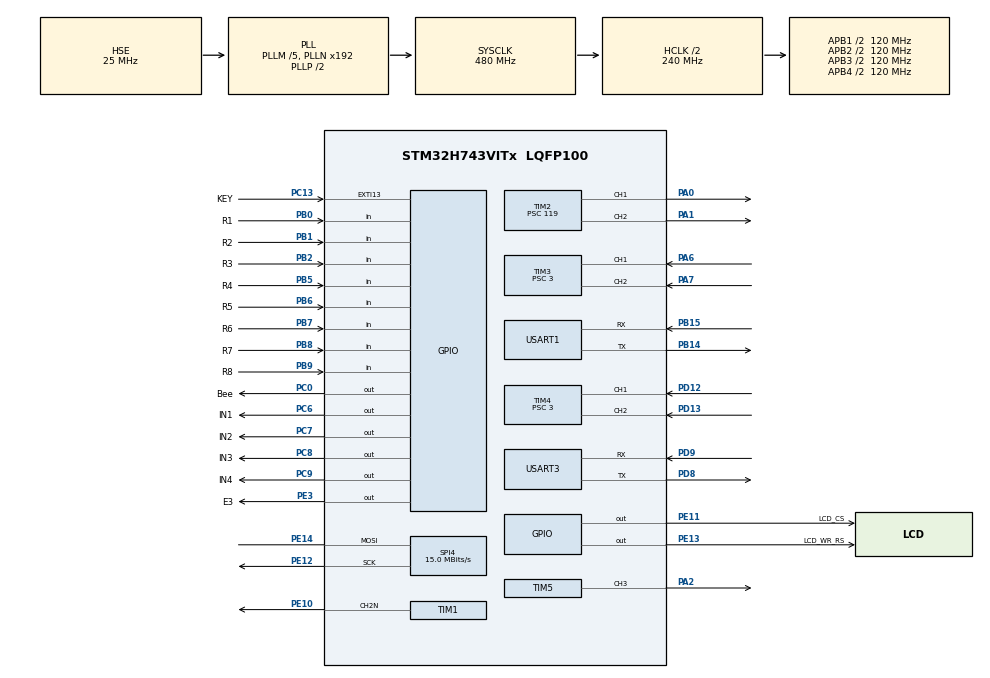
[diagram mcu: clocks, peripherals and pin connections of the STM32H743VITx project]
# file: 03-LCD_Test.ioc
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Mcu.Family=STM32H7
Mcu.Name=STM32H743VITx
Mcu.Package=LQFP100
NVIC.EXTI15_10_IRQn=true\:1\:0\:true\:false\:true\:true\:true
NVIC.PriorityGroup=NVIC_PRIORITYGROUP_4
NVIC.TIM6_DAC_IRQn=true\:2\:0\:true\:false\:true\:true\:true
NVIC.TIM7_IRQn=true\:3\:0\:true\:false\:true\:true\:true
NVIC.USART3_IRQn=true\:0\:0\:false\:false\:true\:true\:true
PA0.Signal=S_TIM2_CH1
PA1.Signal=S_TIM2_CH2
PA13\ (JTMS/SWDIO).Mode=Serial_Wire
PA13\ (JTMS/SWDIO).Signal=DEBUG_JTMS-SWDIO
PA14\ (JTCK/SWCLK).Mode=Serial_Wire
PA14\ (JTCK/SWCLK).Signal=DEBUG_JTCK-SWCLK
PA2.Signal=S_TIM5_CH3
PA6.Signal=S_TIM3_CH1
PA7.Signal=S_TIM3_CH2
PB0.GPIO_Label=R1
PB0.Signal=GPIO_Input
PB1.GPIO_Label=R2
PB1.Signal=GPIO_Input
PB14.Mode=Asynchronous
PB14.Signal=USART1_TX
PB15.Mode=Asynchronous
PB15.Signal=USART1_RX
PB2.GPIO_Label=R3
PB2.Signal=GPIO_Input
PB5.GPIO_Label=R4
PB5.Signal=GPIO_Input
PB6.GPIO_Label=R5
PB6.Signal=GPIO_Input
PB7.GPIO_Label=R6
PB7.Signal=GPIO_Input
PB8.GPIO_Label=R7
PB8.Signal=GPIO_Input
PB9.GPIO_Label=R8
PB9.Signal=GPIO_Input
PC0.GPIO_Label=Bee
PC0.PinState=GPIO_PIN_SET
PC0.Signal=GPIO_Output
PC13.GPIO_Label=KEY
PC13.GPIO_ModeDefaultEXTI=GPIO_MODE_IT_FALLING
PC13.GPIO_PuPd=GPIO_NOPULL
PC13.Signal=GPXTI13
PC14-OSC32_IN\ (OSC32_IN).Mode=LSE-External-Oscillator
PC14-OSC32_IN\ (OSC32_IN).Signal=RCC_OSC32_IN
PC15-OSC32_OUT\ (OSC32_OUT).Mode=LSE-External-Oscillator
PC15-OSC32_OUT\ (OSC32_OUT).Signal=RCC_OSC32_OUT
PC6.GPIO_Label=IN1
PC6.Signal=GPIO_Output
PC7.GPIO_Label=IN2
PC7.Signal=GPIO_Output
PC8.GPIO_Label=IN3
PC8.Signal=GPIO_Output
PC9.GPIO_Label=IN4
PC9.Signal=GPIO_Output
PD12.Signal=S_TIM4_CH1
PD13.Signal=S_TIM4_CH2
PD8.Mode=Asynchronous
PD8.Signal=USART3_TX
PD9.Mode=Asynchronous
PD9.Signal=USART3_RX
PE10.Mode=PWM Generation2 CH2N
PE10.Signal=TIM1_CH2N
PE11.GPIO_Label=LCD_CS
PE11.GPIO_Speed=GPIO_SPEED_FREQ_VERY_HIGH
PE11.PinState=GPIO_PIN_SET
PE11.Signal=GPIO_Output
PE12.GPIO_Speed=GPIO_SPEED_FREQ_HIGH
PE12.Mode=Simplex_Bidirectional_Master
PE12.Signal=SPI4_SCK
PE13.GPIO_Label=LCD_WR_RS
PE13.GPIO_Speed=GPIO_SPEED_FREQ_VERY_HIGH
PE13.PinState=GPIO_PIN_SET
PE13.Signal=GPIO_Output
PE14.GPIO_Speed=GPIO_SPEED_FREQ_HIGH
PE14.Mode=Simplex_Bidirectional_Master
PE14.Signal=SPI4_MOSI
PE3.GPIO_Label=E3
PE3.Signal=GPIO_Output
PH0-OSC_IN\ (PH0).Mode=HSE-External-Oscillator
PH0-OSC_IN\ (PH0).Signal=RCC_OSC_IN
PH1-OSC_OUT\ (PH1).Mode=HSE-External-Oscillator
PH1-OSC_OUT\ (PH1).Signal=RCC_OSC_OUT
ProjectManager.HeapSize=0x200
ProjectManager.StackSize=0x400
ProjectManager.TargetToolchain=MDK-ARM V5
RCC.ADCFreq_Value=83333333.33333333
RCC.APB1Freq_Value=120000000
RCC.APB2Freq_Value=120000000
RCC.APB3Freq_Value=120000000
RCC.APB4Freq_Value=120000000
RCC.CortexFreq_Value=480000000
RCC.D1PPRE=RCC_APB3_DIV2
RCC.D2PPRE1=RCC_APB1_DIV2
RCC.D2PPRE2=RCC_APB2_DIV2
RCC.D3PPRE=RCC_APB4_DIV2
RCC.DIVM1=5
RCC.DIVM2=6
RCC.DIVN1=192
RCC.DIVN2=40
RCC.DIVQ2=1
RCC.HCLKFreq_Value=240000000
RCC.HPRE=RCC_HCLK_DIV2
RCC.HSE_VALUE=25000000
RCC.PLLFRACN=0
RCC.PLLSourceVirtual=RCC_PLLSOURCE_HSE
RCC.RTCClockSelection=RCC_RTCCLKSOURCE_LSE
RCC.SYSCLKFreq_VALUE=480000000
RCC.SYSCLKSource=RCC_SYSCLKSOURCE_PLLCLK
RCC.USBFreq_Value=480000000
RTC.Hours=12
RTC.Month=RTC_MONTH_JUNE
RTC.Year=20
SH.S_TIM2_CH1.0=TIM2_CH1,PWM Generation1 CH1
SH.S_TIM2_CH2.0=TIM2_CH2,PWM Generation2 CH2
SH.S_TIM3_CH1.0=TIM3_CH1,Encoder_Interface
SH.S_TIM3_CH2.0=TIM3_CH2,Encoder_Interface
SH.S_TIM4_CH1.0=TIM4_CH1,Encoder_Interface
SH.S_TIM4_CH2.0=TIM4_CH2,Encoder_Interface
SH.S_TIM5_CH3.0=TIM5_CH3,PWM Generation3 CH3
SPI4.BaudRatePrescaler=SPI_BAUDRATEPRESCALER_8
SPI4.CalculateBaudRate=15.0 MBits/s
SPI4.DataSize=SPI_DATASIZE_8BIT
SPI4.Direction=SPI_DIRECTION_1LINE
SPI4.Mode=SPI_MODE_MASTER
SPI4.VirtualType=VM_MASTER
TIM1.Channel-PWM\ Generation2\ CH2N=TIM_CHANNEL_2
TIM1.OCNPolarity_2=TIM_OCNPOLARITY_LOW
TIM1.Period=1000-1
TIM1.Prescaler=12-1
TIM2.AutoReloadPreload=TIM_AUTORELOAD_PRELOAD_ENABLE
TIM2.Channel-PWM\ Generation1\ CH1=TIM_CHANNEL_1
TIM2.Channel-PWM\ Generation2\ CH2=TIM_CHANNEL_2
TIM2.Period=4800
TIM2.Prescaler=119
TIM3.AutoReloadPreload=TIM_AUTORELOAD_PRELOAD_ENABLE
TIM3.EncoderMode=TIM_ENCODERMODE_TI12
TIM3.Period=65534
TIM3.Prescaler=3
TIM4.AutoReloadPreload=TIM_AUTORELOAD_PRELOAD_ENABLE
TIM4.EncoderMode=TIM_ENCODERMODE_TI12
TIM4.Period=65534
TIM4.Prescaler=3
TIM5.AutoReloadPreload=TIM_AUTORELOAD_PRELOAD_ENABLE
TIM5.Channel-PWM\ Generation3\ CH3=TIM_CHANNEL_3
TIM5.Period=249
TIM5.Prescaler=4799
TIM6.AutoReloadPreload=TIM_AUTORELOAD_PRELOAD_ENABLE
TIM6.Period=99
TIM6.Prescaler=4799
TIM7.AutoReloadPreload=TIM_AUTORELOAD_PRELOAD_ENABLE
TIM7.Period=999
TIM7.Prescaler=4799
USART1.VirtualMode-Asynchronous=VM_ASYNC
USART3.VirtualMode-Asynchronous=VM_ASYNC
VP_RTC_VS_RTC_Activate.Mode=RTC_Enabled
VP_RTC_VS_RTC_Calendar.Mode=RTC_Calendar
VP_TIM2_VS_ClockSourceINT.Mode=Internal
VP_TIM5_VS_ClockSourceINT.Mode=Internal
VP_TIM6_VS_ClockSourceINT.Mode=Enable_Timer
VP_TIM7_VS_ClockSourceINT.Mode=Enable_Timer
board=custom

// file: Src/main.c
/* USER CODE BEGIN Header */
/**
  ******************************************************************************
  * @file           : main.c
  * @brief          : Main program body
  ******************************************************************************
  * @attention
  *
  * <h2><center>&copy; Copyright (c) 2020 STMicroelectronics.
  * All rights reserved.</center></h2>
  *
  * This software component is licensed by ST under BSD 3-Clause license,
  * the "License"; You may not use this file except in compliance with the
  * License. You may obtain a copy of the License at:
  *                        opensource.org/licenses/BSD-3-Clause
  *
  ******************************************************************************
  */
/* USER CODE END Header */
#include "main.h"
#include "rtc.h"
#include "spi.h"
#include "tim.h"
#include "usart.h"
#include "gpio.h"

/* USER CODE BEGIN Includes */
#include "lcd.h"
#include "pid.h"
#include "control.h"
#include "stdlib.h"
#include "stdio.h"
#include "string.h"
#include "pid.h"
#include "atk_imu901.h"
/* USER CODE END Includes */

/* USER CODE BEGIN PTD */
extern int Vertical_out,Velocity_out,Turn_out;//直立环&速度环&转向环 的输出变量
extern float Med_Angle;//机械中值--能使得小车真正平衡住的角度。
extern float Vertical_Kp;
float Pitch,Roll,Yaw;						//角度
short gyrox,gyroy,gyroz;				//陀螺仪--角速度
short aacx,aacy,aacz;						//加速度
int Encoder_Left,Encoder_Right;	//编码器数据（速度）

int PWM_MAX=7200,PWM_MIN=-7200;	//PWM限幅变量
int MOTO1,MOTO2;								//电机装载变量
/* USER CODE END PTD */

void SystemClock_Config(void);

/* USER CODE BEGIN 0 */
static void MPU_Config(void)
{
  MPU_Region_InitTypeDef MPU_InitStruct = {0};

  /* Disables the MPU */
  HAL_MPU_Disable();

	/* Configure the MPU attributes for the QSPI 256MB without instruction access */
  MPU_InitStruct.Enable           = MPU_REGION_ENABLE;
  MPU_InitStruct.Number           = MPU_REGION_NUMBER0;
  MPU_InitStruct.BaseAddress      = QSPI_BASE;
  MPU_InitStruct.Size             = MPU_REGION_SIZE_256MB;
  MPU_InitStruct.AccessPermission = MPU_REGION_NO_ACCESS;
  MPU_InitStruct.IsBufferable     = MPU_ACCESS_NOT_BUFFERABLE;
  MPU_InitStruct.IsCacheable      = MPU_ACCESS_NOT_CACHEABLE;
  MPU_InitStruct.IsShareable      = MPU_ACCESS_NOT_SHAREABLE;
  MPU_InitStruct.DisableExec      = MPU_INSTRUCTION_ACCESS_DISABLE;
  MPU_InitStruct.TypeExtField     = MPU_TEX_LEVEL1;
  MPU_InitStruct.SubRegionDisable = 0x00;
  HAL_MPU_ConfigRegion(&MPU_InitStruct);

  /* Configure the MPU attributes for the QSPI 8MB (QSPI Flash Size) to Cacheable WT */
  MPU_InitStruct.Enable           = MPU_REGION_ENABLE;
  MPU_InitStruct.Number           = MPU_REGION_NUMBER1;
  MPU_InitStruct.BaseAddress      = QSPI_BASE;
  MPU_InitStruct.Size             = MPU_REGION_SIZE_8MB;
  MPU_InitStruct.AccessPermission = MPU_REGION_PRIV_RO;
  MPU_InitStruct.IsBufferable     = MPU_ACCESS_BUFFERABLE;
  MPU_InitStruct.IsCacheable      = MPU_ACCESS_CACHEABLE;
  MPU_InitStruct.IsShareable      = MPU_ACCESS_NOT_SHAREABLE;
  MPU_InitStruct.DisableExec      = MPU_INSTRUCTION_ACCESS_ENABLE;
  MPU_InitStruct.TypeExtField     = MPU_TEX_LEVEL1;
  MPU_InitStruct.SubRegionDisable = 0x00;
  HAL_MPU_ConfigRegion(&MPU_InitStruct);

  /* Enables the MPU */
  HAL_MPU_Enable(MPU_PRIVILEGED_DEFAULT);
}

static void CPU_CACHE_Enable(void)
{
  /* Enable I-Cache */
  SCB_EnableICache();

  /* Enable D-Cache */
  SCB_EnableDCache();
}

static void LED_Blink(uint32_t Hdelay,uint32_t Ldelay)
{
	HAL_GPIO_WritePin(E3_GPIO_Port,E3_Pin,GPIO_PIN_SET);
	HAL_Delay(Hdelay - 1);
	HAL_GPIO_WritePin(E3_GPIO_Port,E3_Pin,GPIO_PIN_RESET);
	HAL_Delay(Ldelay-1);
}

/**
  * @brief  Get the current time and date.
  * @param
  * @retval None
  */
static void RTC_CalendarShow(RTC_DateTypeDef *sdatestructureget,RTC_TimeTypeDef *stimestructureget)
{
  /* 必须同时获取时间和日期 不然会导致下次RTC不能读取 */
  /* Both time and date must be obtained or RTC cannot be read next time */
  /* Get the RTC current Time */
  HAL_RTC_GetTime(&hrtc, stimestructureget, RTC_FORMAT_BIN);
  /* Get the RTC current Date */
  HAL_RTC_GetDate(&hrtc, sdatestructureget, RTC_FORMAT_BIN);
}
#pragma import(__use_no_semihosting)
/* 解决HAL库使用时, 某些情况可能报错的bug */
int _ttywrch(int ch)
{
    ch = ch;
    return ch;
}

/* 解决HAL库使用时, 某些情况可能报错的bug */
struct __FILE
{
    int handle;
    /* Whatever you require here. If the only file you are using is */
    /* standard output using printf() for debugging, no file handling */
    /* is required. */
};

/* FILE is typedef’ d in stdio.h. */
FILE __stdout;

/* 定义_sys_exit()以避免使用半主机模式 */
void _sys_exit(int x)
{
    x = x;
}
///* 重定义fputc函数, printf函数最终会通过调用fputc输出字符串到串口 */
int fputc(int ch, FILE *f)
{
    HAL_UART_Transmit(&huart1 , (uint8_t *)&ch, 1, 0xFFF);
    return ch;
}

/* USER CODE END 0 */

int main(void)
{
  /* USER CODE BEGIN 1 */

  #ifdef W25Qxx
    SCB->VTOR = QSPI_BASE;
  #endif
  MPU_Config();
  CPU_CACHE_Enable();
	uint8_t uart_temp[100];
    uint8_t ch;
	uint32_t times = 0;
	int PWM_out;
  /* USER CODE END 1 */

  /* MCU Configuration--------------------------------------------------------*/

  /* Reset of all peripherals, Initializes the Flash interface and the Systick. */
  HAL_Init();

  /* Configure the system clock */
  SystemClock_Config();

  /* Initialize all configured peripherals */
  MX_GPIO_Init();
  MX_RTC_Init();
  MX_SPI4_Init();
  MX_TIM1_Init();
  MX_TIM3_Init();
  MX_TIM4_Init();
  MX_TIM2_Init();
  MX_TIM7_Init();
  MX_TIM5_Init();
  MX_TIM6_Init();
  MX_USART1_UART_Init();
  MX_USART3_UART_Init();
  /* USER CODE BEGIN 2 */
	//LCD_Test();
    __HAL_UART_ENABLE_IT(&huart3, UART_IT_RXNE);
	imu901_init();							/* IMU901模块初始 */

  /* USER CODE END 2 */

  /* Infinite loop */
  /* USER CODE BEGIN WHILE */

  while (1)
  {
	  HAL_Delay(100);
	  HAL_GPIO_TogglePin(E3_GPIO_Port,E3_Pin);
	  while(imu901_uart_receive(&ch, 1)) 	/*!< 获取串口fifo一个字节 */
		{
			if(imu901_unpack(ch)) 			/*!< 解析出有效数据包 */
			{
				if(rxPacket.startByte2 == UP_BYTE2) 			/*!< 主动上传的数据包 */
				{
					atkpParsing(&rxPacket);
				}
			}
		}
      printf("姿态角[XYZ]:    %-6.1f     %-6.1f     %-6.1f   (°)\r\n", attitude.roll, attitude.pitch, attitude.yaw);
      printf("加速度[XYZ]:    %-6.3f     %-6.3f     %-6.3f   (g)\r\n", gyroAccData.faccG[0], gyroAccData.faccG[1], gyroAccData.faccG[2]);
	  GetMotorPulse();	//读取编码器

    /* USER CODE END WHILE */

  }
}

void SystemClock_Config(void)
{
  RCC_OscInitTypeDef RCC_OscInitStruct = {0};
  RCC_ClkInitTypeDef RCC_ClkInitStruct = {0};

  /** Supply configuration update enable
  */
  HAL_PWREx_ConfigSupply(PWR_LDO_SUPPLY);
  /** Configure the main internal regulator output voltage
  */
  __HAL_PWR_VOLTAGESCALING_CONFIG(PWR_REGULATOR_VOLTAGE_SCALE0);

  while(!__HAL_PWR_GET_FLAG(PWR_FLAG_VOSRDY)) {}
  /** Configure LSE Drive Capability
  */
  HAL_PWR_EnableBkUpAccess();
  __HAL_RCC_LSEDRIVE_CONFIG(RCC_LSEDRIVE_LOW);
  /** Initializes the RCC Oscillators according to the specified parameters
  * in the RCC_OscInitTypeDef structure.
  */
  RCC_OscInitStruct.OscillatorType = RCC_OSCILLATORTYPE_HSE|RCC_OSCILLATORTYPE_LSE;
  RCC_OscInitStruct.HSEState = RCC_HSE_ON;
  RCC_OscInitStruct.LSEState = RCC_LSE_ON;
  RCC_OscInitStruct.PLL.PLLState = RCC_PLL_ON;
  RCC_OscInitStruct.PLL.PLLSource = RCC_PLLSOURCE_HSE;
  RCC_OscInitStruct.PLL.PLLM = 5;
  RCC_OscInitStruct.PLL.PLLN = 192;
  RCC_OscInitStruct.PLL.PLLP = 2;
  RCC_OscInitStruct.PLL.PLLQ = 2;
  RCC_OscInitStruct.PLL.PLLR = 2;
  RCC_OscInitStruct.PLL.PLLRGE = RCC_PLL1VCIRANGE_2;
  RCC_OscInitStruct.PLL.PLLVCOSEL = RCC_PLL1VCOWIDE;
  RCC_OscInitStruct.PLL.PLLFRACN = 0;
  if (HAL_RCC_OscConfig(&RCC_OscInitStruct) != HAL_OK)
  {
    Error_Handler();
  }
  /** Initializes the CPU, AHB and APB buses clocks
  */
  RCC_ClkInitStruct.ClockType = RCC_CLOCKTYPE_HCLK|RCC_CLOCKTYPE_SYSCLK
                              |RCC_CLOCKTYPE_PCLK1|RCC_CLOCKTYPE_PCLK2
                              |RCC_CLOCKTYPE_D3PCLK1|RCC_CLOCKTYPE_D1PCLK1;
  RCC_ClkInitStruct.SYSCLKSource = RCC_SYSCLKSOURCE_PLLCLK;
  RCC_ClkInitStruct.SYSCLKDivider = RCC_SYSCLK_DIV1;
  RCC_ClkInitStruct.AHBCLKDivider = RCC_HCLK_DIV2;
  RCC_ClkInitStruct.APB3CLKDivider = RCC_APB3_DIV2;
  RCC_ClkInitStruct.APB1CLKDivider = RCC_APB1_DIV2;
  RCC_ClkInitStruct.APB2CLKDivider = RCC_APB2_DIV2;
  RCC_ClkInitStruct.APB4CLKDivider = RCC_APB4_DIV2;

  if (HAL_RCC_ClockConfig(&RCC_ClkInitStruct, FLASH_LATENCY_4) != HAL_OK)
  {
    Error_Handler();
  }
}

/* USER CODE BEGIN 4 */
void HAL_TIM_PeriodElapsedCallback(TIM_HandleTypeDef *htim)
{
    static unsigned char i = 0;
	static unsigned char dj = 70;
    if (htim == (&htim7))
    {

    }
    if (htim == (&htim6))
    {

    }
}

/* USER CODE END 4 */

void Error_Handler(void)
{
  /* USER CODE BEGIN Error_Handler_Debug */
  /* User can add his own implementation to report the HAL error return state */
  LED_Blink(500,500);
  /* USER CODE END Error_Handler_Debug */
}

/************************ (C) COPYRIGHT STMicroelectronics *****END OF FILE****/
